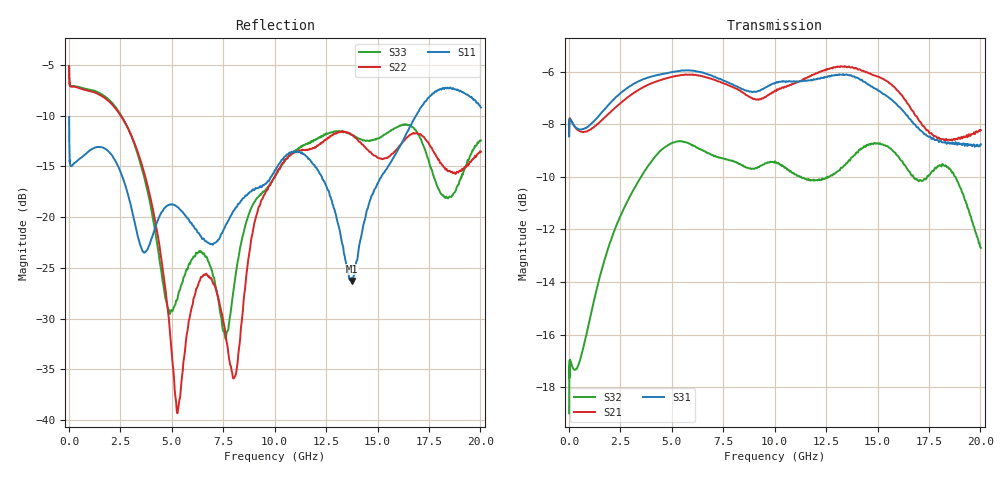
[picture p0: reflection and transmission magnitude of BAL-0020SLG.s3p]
! MARKI MICROWAVE INC.
! Email:  support@markimicrowave.com  Phone:  408-778-4200
! Model Number:  BAL-0020SLG  Date:  08/20
! Filename:		BAL-0020SLG.S3P  Version: 1.0
! Description:  3-port S-parameter data for Balun BAL-0020SLG
! Frequency Range: 	10 MHz to 20 GHz
! Port Configuration:	PORT 1: COMMON , PORT 2: OUTPUT(0 DEGREE), PORT 3: OUTPUT (180 DEGREE)
! S3P File: Measurements: Mag<S11> Ang<S11> Mag<S12> Ang<S12> Mag<S13> Ang<S13>! row 1
!  Mag<S21> Ang<S21> Mag<S22> Ang<S22> Mag<S23> Ang<S23>! row 2
!  Mag<S31> Ang<S31> Mag<S32> Ang<S32> Mag<S33> Ang<S33>! row 3
# Hz S  dB  R 50
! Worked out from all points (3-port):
!   776 points, 10 MHz to 20.02 GHz, reference 50 ohm
!   strongest paths, dB at 10 MHz, 1.147 GHz, 7.45 GHz, 13.75 GHz, 20.02 GHz:
!     S31: -8.5, -7.9, -6.3, -6.2, -8.8
!     S21: -8.5, -8.1, -6.4, -5.8, -8.2
!     S32: -19.0, -14.9, -9.3, -9.3, -12.7
!   lowest |S11| = -26.3 dB at 13.75 GHz (marker M1), VSWR 1.10, Z = 46.7 + j3.35 ohm
!   |S11| at or under -10 dB: start of sweep to 16.87 GHz
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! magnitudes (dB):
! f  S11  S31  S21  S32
! 10 MHz  -10.1  -8.5  -8.5  -19.0
! 3.454 GHz  -22.7  -6.3  -6.7  -10.1
! 5.273 GHz  -19.0  -6.0  -6.2  -8.7
! 6.572 GHz  -22.2  -6.1  -6.2  -9.0
! 7.58 GHz  -21.0  -6.4  -6.5  -9.3
! 8.067 GHz  -19.2  -6.5  -6.6  -9.4
! 10.02 GHz  -15.4  -6.4  -6.7  -9.4
! 13.75 GHz  -26.3  -6.2  -5.8  -9.3
! 17.23 GHz  -8.9  -8.3  -8.1  -10.1
! 20.02 GHz  -9.2  -8.8  -8.2  -12.7
